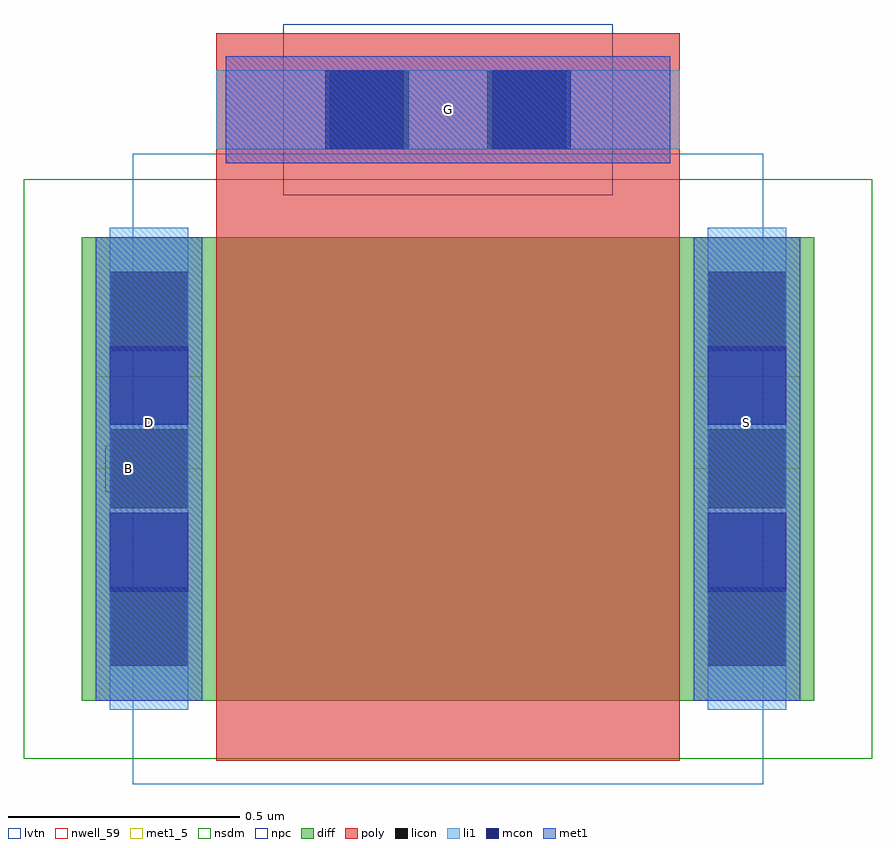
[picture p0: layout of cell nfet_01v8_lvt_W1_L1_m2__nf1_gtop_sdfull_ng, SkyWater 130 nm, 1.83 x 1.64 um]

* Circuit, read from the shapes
.subckt nfet_01v8_lvt_W1_L1_m2__nf1_gtop_sdfull_ng B D G S
XM1 S G D B sky130_fd_pr__nfet_01v8_lvt w=1 l=1
.ends

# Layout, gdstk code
import gdstk
lib = gdstk.Library(unit=1e-6, precision=1e-09)
def R(c, l, rs):  # rectangles x0, y0, x1, y1
    for r in rs: c.add(gdstk.rectangle(r[:2], r[2:], *l))
def A(c, l, x, y, w, h, nx, ny, dx, dy):  # array of equal rectangles
    R(c, l, [(x+i*dx, y+j*dy, x+i*dx+w, y+j*dy+h) for i in range(nx) for j in range(ny)])
nwell_59 = (64, 59)
diff = (65, 20)
poly = (66, 20)
licon = (66, 44)
li1 = (67, 20)
mcon = (67, 44)
met1_5 = (68, 5)
met1 = (68, 20)
nsdm = (93, 44)
npc = (95, 20)
lvtn = (125, 44)

sky130_fd_pr__nfet_01v8_ = lib.new_cell('sky130_fd_pr__nfet_01v8_lvt_AZQPEL')
R(sky130_fd_pr__nfet_01v8_, diff, [(-0.79,-0.655,0.79,0.345)])
R(sky130_fd_pr__nfet_01v8_, poly, [(-0.5,-0.785,0.5,0.785)])
A(sky130_fd_pr__nfet_01v8_, licon, -0.73, -0.58, 0.17, 0.17, 1, 3, 0, 0.34)
A(sky130_fd_pr__nfet_01v8_, licon, 0.56, -0.58, 0.17, 0.17, 1, 3, 0, 0.34)
R(sky130_fd_pr__nfet_01v8_, licon, [(-0.255,0.535,-0.085,0.705), (0.085,0.535,0.255,0.705)])
R(sky130_fd_pr__nfet_01v8_, li1, [(-0.73,-0.675,-0.56,0.365), (0.56,-0.675,0.73,0.365), (-0.5,0.535,0.5,0.705)])
R(sky130_fd_pr__nfet_01v8_, mcon, [(-0.73,-0.42,-0.56,-0.25), (0.56,-0.42,0.73,-0.25), (-0.73,-0.06,-0.56,0.11), (0.56,-0.06,0.73,0.11), (-0.265,0.535,-0.095,0.705), (0.095,0.535,0.265,0.705)])
R(sky130_fd_pr__nfet_01v8_, met1, [(-0.76,-0.655,-0.53,0.345), (0.53,-0.655,0.76,0.345), (-0.48,0.505,0.48,0.735)])
R(sky130_fd_pr__nfet_01v8_, nsdm, [(-0.915,-0.78,0.915,0.47)])
R(sky130_fd_pr__nfet_01v8_, npc, [(-0.355,0.435,0.355,0.805)])
R(sky130_fd_pr__nfet_01v8_, lvtn, [(-0.68,-0.835,0.68,0.525)])
sky130_fd_pr__nfet_01v8_.add(gdstk.Label('D', (-0.645,-0.155), layer=67, texttype=5))
sky130_fd_pr__nfet_01v8_.add(gdstk.Label('S', (0.645,-0.155), layer=67, texttype=5))
sky130_fd_pr__nfet_01v8_.add(gdstk.Label('G', (0,0.62), layer=67, texttype=5))

nfet_01v8_lvt_w1_l1_m2__ = lib.new_cell('nfet_01v8_lvt_W1_L1_m2__nf1_gtop_sdfull_ng')
R(nfet_01v8_lvt_w1_l1_m2__, nwell_59, [(0.05,0.58,0.15,0.68)])
R(nfet_01v8_lvt_w1_l1_m2__, met1_5, [(0.03,0.63,0.26,0.83), (1.32,0.63,1.55,0.83), (0.31,1.29,1.27,1.52)])
R(nfet_01v8_lvt_w1_l1_m2__, met1, [(0.03,0.63,0.26,0.83), (1.32,0.63,1.55,0.83), (0.31,1.29,1.27,1.52)])
nfet_01v8_lvt_w1_l1_m2__.add(gdstk.Reference(sky130_fd_pr__nfet_01v8_, (0.79,0.785)))
nfet_01v8_lvt_w1_l1_m2__.add(gdstk.Label('D', (0.145,0.73), layer=68, texttype=5))
nfet_01v8_lvt_w1_l1_m2__.add(gdstk.Label('S', (1.435,0.73), layer=68, texttype=5))
nfet_01v8_lvt_w1_l1_m2__.add(gdstk.Label('G', (0.79,1.405), layer=68, texttype=5))
nfet_01v8_lvt_w1_l1_m2__.add(gdstk.Label('B', (0.1,0.63), layer=64, texttype=59))

lib.write_gds('nfet_01v8_lvt_W1_L1_m2__nf1_gtop_sdfull_ng.gds')
